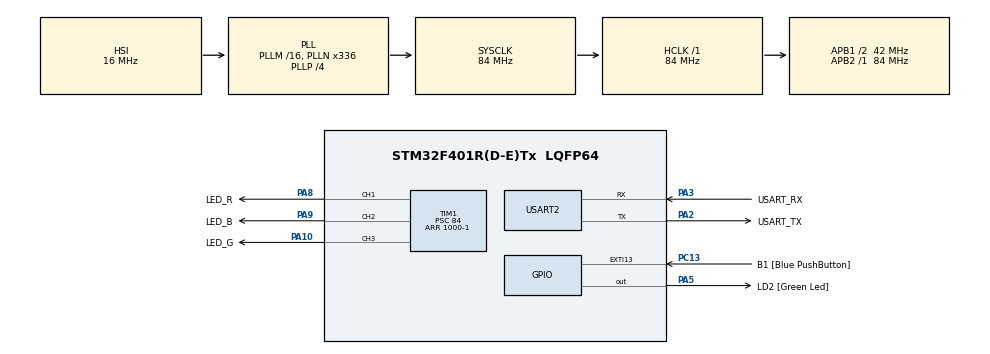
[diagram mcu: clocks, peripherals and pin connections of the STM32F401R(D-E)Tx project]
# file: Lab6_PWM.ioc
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Mcu.Family=STM32F4
Mcu.Name=STM32F401R(D-E)Tx
Mcu.Package=LQFP64
NVIC.PriorityGroup=NVIC_PRIORITYGROUP_0
NVIC.TIM1_UP_TIM10_IRQn=true\:0\:0\:false\:false\:true\:true\:true\:true
PA10.GPIO_Label=LED_G
PA10.Signal=S_TIM1_CH3
PA13.GPIO_Label=TMS
PA13.Mode=Serial_Wire
PA13.Signal=SYS_JTMS-SWDIO
PA14.GPIO_Label=TCK
PA14.Mode=Serial_Wire
PA14.Signal=SYS_JTCK-SWCLK
PA2.GPIO_Label=USART_TX
PA2.GPIO_Mode=GPIO_MODE_AF_PP
PA2.GPIO_PuPd=GPIO_NOPULL
PA2.GPIO_Speed=GPIO_SPEED_FREQ_LOW
PA2.Mode=Asynchronous
PA2.Signal=USART2_TX
PA3.GPIO_Label=USART_RX
PA3.GPIO_Mode=GPIO_MODE_AF_PP
PA3.GPIO_PuPd=GPIO_NOPULL
PA3.GPIO_Speed=GPIO_SPEED_FREQ_LOW
PA3.Mode=Asynchronous
PA3.Signal=USART2_RX
PA5.GPIO_Label=LD2 [Green Led]
PA5.GPIO_Mode=GPIO_MODE_OUTPUT_PP
PA5.GPIO_PuPd=GPIO_NOPULL
PA5.GPIO_Speed=GPIO_SPEED_FREQ_LOW
PA5.Signal=GPIO_Output
PA8.GPIO_Label=LED_R
PA8.Signal=S_TIM1_CH1
PA9.GPIO_Label=LED_B
PA9.Signal=S_TIM1_CH2
PB3.GPIO_Label=SWO
PB3.Signal=SYS_JTDO-SWO
PC13-ANTI_TAMP.GPIO_Label=B1 [Blue PushButton]
PC13-ANTI_TAMP.GPIO_ModeDefaultEXTI=GPIO_MODE_IT_FALLING
PC13-ANTI_TAMP.GPIO_PuPd=GPIO_NOPULL
PC13-ANTI_TAMP.Signal=GPXTI13
PC14-OSC32_IN.Mode=LSE-External-Oscillator
PC14-OSC32_IN.Signal=RCC_OSC32_IN
PC15-OSC32_OUT.Mode=LSE-External-Oscillator
PC15-OSC32_OUT.Signal=RCC_OSC32_OUT
PH0\ -\ OSC_IN.Mode=HSE-External-Clock-Source
PH0\ -\ OSC_IN.Signal=RCC_OSC_IN
PH1\ -\ OSC_OUT.Mode=HSE-External-Clock-Source
PH1\ -\ OSC_OUT.Signal=RCC_OSC_OUT
ProjectManager.HeapSize=0x200
ProjectManager.StackSize=0x400
ProjectManager.TargetToolchain=STM32CubeIDE
RCC.48MHZClocksFreq_Value=48000000
RCC.AHBFreq_Value=84000000
RCC.APB1CLKDivider=RCC_HCLK_DIV2
RCC.APB1Freq_Value=42000000
RCC.APB1TimFreq_Value=84000000
RCC.APB2Freq_Value=84000000
RCC.APB2TimFreq_Value=84000000
RCC.CortexFreq_Value=84000000
RCC.HCLKFreq_Value=84000000
RCC.HSE_VALUE=8000000
RCC.HSI_VALUE=16000000
RCC.PLLN=336
RCC.PLLP=RCC_PLLP_DIV4
RCC.PLLQ=7
RCC.SYSCLKFreq_VALUE=84000000
RCC.SYSCLKSource=RCC_SYSCLKSOURCE_PLLCLK
RCC.VCOOutputFreq_Value=336000000
SH.S_TIM1_CH1.0=TIM1_CH1,PWM Generation1 CH1
SH.S_TIM1_CH2.0=TIM1_CH2,PWM Generation2 CH2
SH.S_TIM1_CH3.0=TIM1_CH3,PWM Generation3 CH3
TIM1.Channel-PWM\ Generation1\ CH1=TIM_CHANNEL_1
TIM1.Channel-PWM\ Generation2\ CH2=TIM_CHANNEL_2
TIM1.Channel-PWM\ Generation3\ CH3=TIM_CHANNEL_3
TIM1.Period=1000-1
TIM1.Prescaler=84
USART2.VirtualMode=VM_ASYNC
VP_TIM1_VS_ClockSourceINT.Mode=Internal
board=NUCLEO-F401RE

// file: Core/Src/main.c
/* USER CODE BEGIN Header */
/**
 ******************************************************************************
 * @file           : main.c
 * @brief          : Main program body
 ******************************************************************************
 * @attention
 *
 * Copyright (c) 2024 STMicroelectronics.
 * All rights reserved.
 *
 * This software is licensed under terms that can be found in the LICENSE file
 * in the root directory of this software component.
 * If no LICENSE file comes with this software, it is provided AS-IS.
 *
 ******************************************************************************
 */
/* USER CODE END Header */
#include "main.h"
#include <math.h>

TIM_HandleTypeDef htim1;
UART_HandleTypeDef huart2;

/* USER CODE BEGIN PV */
int isr_count = 0;
uint32_t duty = 0;
float rf, gf, bf;
static float t = 0.0f;
const float offset = M_TWOPI / 3.0f;
const float half_arr = 499.5f; // Half of ARR value, assuming ARR = 999
const float freq = 0.5f; // Startfrekvens satt till 0,5 Hz
/* USER CODE END PV */

void SystemClock_Config(void);
static void MX_GPIO_Init(void);
static void MX_USART2_UART_Init(void);
static void MX_TIM1_Init(void);

/* USER CODE BEGIN 0 */
void HAL_TIM_PeriodElapsedCallback(TIM_HandleTypeDef *htim)
{
	if (htim->Instance == TIM1)
	{
		isr_count++;
		// Calculate intensity values for RGB colors
		rf = sinf((M_TWOPI * t * freq) + (0 * offset));
		gf = sinf((M_TWOPI * t * freq) + (1 * offset));
		bf = sinf((M_TWOPI * t * freq) + (2 * offset));
		rf = (rf + 1.0f) * half_arr;
		gf = (gf + 1.0f) * half_arr;
		bf = (bf + 1.0f) * half_arr;
		t += 0.001f; //(1 / f_TIM)
	}
}
/* USER CODE END 0 */

int main(void)
{

	/* MCU Configuration--------------------------------------------------------*/

	/* Reset of all peripherals, Initializes the Flash interface and the Systick. */
	HAL_Init();

	/* Configure the system clock */
	SystemClock_Config();

	/* Initialize all configured peripherals */
	MX_GPIO_Init();
	MX_USART2_UART_Init();
	MX_TIM1_Init();
	/* USER CODE BEGIN 2 */
	HAL_TIM_Base_Start_IT(&htim1);
	HAL_TIM_PWM_Start(&htim1, TIM_CHANNEL_1);
	HAL_TIM_PWM_Start(&htim1, TIM_CHANNEL_2);
	HAL_TIM_PWM_Start(&htim1, TIM_CHANNEL_3);
	/* USER CODE END 2 */

	/* Infinite loop */
	/* USER CODE BEGIN WHILE */

	while (1)
	{
		//duty = (isr_count / 32) % 1000;
		__HAL_TIM_SET_COMPARE(&htim1, TIM_CHANNEL_1, rf);
		__HAL_TIM_SET_COMPARE(&htim1, TIM_CHANNEL_2, bf);
		__HAL_TIM_SET_COMPARE(&htim1, TIM_CHANNEL_3, gf);

		/* USER CODE END WHILE */

	}
}

void SystemClock_Config(void)
{
	RCC_OscInitTypeDef RCC_OscInitStruct = {0};
	RCC_ClkInitTypeDef RCC_ClkInitStruct = {0};

	/** Configure the main internal regulator output voltage
	 */
	__HAL_RCC_PWR_CLK_ENABLE();
	__HAL_PWR_VOLTAGESCALING_CONFIG(PWR_REGULATOR_VOLTAGE_SCALE2);

	/** Initializes the RCC Oscillators according to the specified parameters
	 * in the RCC_OscInitTypeDef structure.
	 */
	RCC_OscInitStruct.OscillatorType = RCC_OSCILLATORTYPE_HSI;
	RCC_OscInitStruct.HSIState = RCC_HSI_ON;
	RCC_OscInitStruct.HSICalibrationValue = RCC_HSICALIBRATION_DEFAULT;
	RCC_OscInitStruct.PLL.PLLState = RCC_PLL_ON;
	RCC_OscInitStruct.PLL.PLLSource = RCC_PLLSOURCE_HSI;
	RCC_OscInitStruct.PLL.PLLM = 16;
	RCC_OscInitStruct.PLL.PLLN = 336;
	RCC_OscInitStruct.PLL.PLLP = RCC_PLLP_DIV4;
	RCC_OscInitStruct.PLL.PLLQ = 7;
	if (HAL_RCC_OscConfig(&RCC_OscInitStruct) != HAL_OK)
	{
		Error_Handler();
	}

	/** Initializes the CPU, AHB and APB buses clocks
	 */
	RCC_ClkInitStruct.ClockType = RCC_CLOCKTYPE_HCLK|RCC_CLOCKTYPE_SYSCLK
			|RCC_CLOCKTYPE_PCLK1|RCC_CLOCKTYPE_PCLK2;
	RCC_ClkInitStruct.SYSCLKSource = RCC_SYSCLKSOURCE_PLLCLK;
	RCC_ClkInitStruct.AHBCLKDivider = RCC_SYSCLK_DIV1;
	RCC_ClkInitStruct.APB1CLKDivider = RCC_HCLK_DIV2;
	RCC_ClkInitStruct.APB2CLKDivider = RCC_HCLK_DIV1;

	if (HAL_RCC_ClockConfig(&RCC_ClkInitStruct, FLASH_LATENCY_2) != HAL_OK)
	{
		Error_Handler();
	}
}

static void MX_TIM1_Init(void)
{

	TIM_ClockConfigTypeDef sClockSourceConfig = {0};
	TIM_MasterConfigTypeDef sMasterConfig = {0};
	TIM_OC_InitTypeDef sConfigOC = {0};
	TIM_BreakDeadTimeConfigTypeDef sBreakDeadTimeConfig = {0};

	htim1.Instance = TIM1;
	htim1.Init.Prescaler = 84;
	htim1.Init.CounterMode = TIM_COUNTERMODE_UP;
	htim1.Init.Period = 1000-1;
	htim1.Init.ClockDivision = TIM_CLOCKDIVISION_DIV1;
	htim1.Init.RepetitionCounter = 0;
	htim1.Init.AutoReloadPreload = TIM_AUTORELOAD_PRELOAD_DISABLE;
	if (HAL_TIM_Base_Init(&htim1) != HAL_OK)
	{
		Error_Handler();
	}
	sClockSourceConfig.ClockSource = TIM_CLOCKSOURCE_INTERNAL;
	if (HAL_TIM_ConfigClockSource(&htim1, &sClockSourceConfig) != HAL_OK)
	{
		Error_Handler();
	}
	if (HAL_TIM_PWM_Init(&htim1) != HAL_OK)
	{
		Error_Handler();
	}
	sMasterConfig.MasterOutputTrigger = TIM_TRGO_RESET;
	sMasterConfig.MasterSlaveMode = TIM_MASTERSLAVEMODE_DISABLE;
	if (HAL_TIMEx_MasterConfigSynchronization(&htim1, &sMasterConfig) != HAL_OK)
	{
		Error_Handler();
	}
	sConfigOC.OCMode = TIM_OCMODE_PWM1;
	sConfigOC.Pulse = 0;
	sConfigOC.OCPolarity = TIM_OCPOLARITY_HIGH;
	sConfigOC.OCNPolarity = TIM_OCNPOLARITY_HIGH;
	sConfigOC.OCFastMode = TIM_OCFAST_DISABLE;
	sConfigOC.OCIdleState = TIM_OCIDLESTATE_RESET;
	sConfigOC.OCNIdleState = TIM_OCNIDLESTATE_RESET;
	if (HAL_TIM_PWM_ConfigChannel(&htim1, &sConfigOC, TIM_CHANNEL_1) != HAL_OK)
	{
		Error_Handler();
	}
	if (HAL_TIM_PWM_ConfigChannel(&htim1, &sConfigOC, TIM_CHANNEL_2) != HAL_OK)
	{
		Error_Handler();
	}
	if (HAL_TIM_PWM_ConfigChannel(&htim1, &sConfigOC, TIM_CHANNEL_3) != HAL_OK)
	{
		Error_Handler();
	}
	sBreakDeadTimeConfig.OffStateRunMode = TIM_OSSR_DISABLE;
	sBreakDeadTimeConfig.OffStateIDLEMode = TIM_OSSI_DISABLE;
	sBreakDeadTimeConfig.LockLevel = TIM_LOCKLEVEL_OFF;
	sBreakDeadTimeConfig.DeadTime = 0;
	sBreakDeadTimeConfig.BreakState = TIM_BREAK_DISABLE;
	sBreakDeadTimeConfig.BreakPolarity = TIM_BREAKPOLARITY_HIGH;
	sBreakDeadTimeConfig.AutomaticOutput = TIM_AUTOMATICOUTPUT_DISABLE;
	if (HAL_TIMEx_ConfigBreakDeadTime(&htim1, &sBreakDeadTimeConfig) != HAL_OK)
	{
		Error_Handler();
	}
	HAL_TIM_MspPostInit(&htim1);

}

static void MX_USART2_UART_Init(void)
{

	huart2.Instance = USART2;
	huart2.Init.BaudRate = 115200;
	huart2.Init.WordLength = UART_WORDLENGTH_8B;
	huart2.Init.StopBits = UART_STOPBITS_1;
	huart2.Init.Parity = UART_PARITY_NONE;
	huart2.Init.Mode = UART_MODE_TX_RX;
	huart2.Init.HwFlowCtl = UART_HWCONTROL_NONE;
	huart2.Init.OverSampling = UART_OVERSAMPLING_16;
	if (HAL_UART_Init(&huart2) != HAL_OK)
	{
		Error_Handler();
	}

}

static void MX_GPIO_Init(void)
{
	GPIO_InitTypeDef GPIO_InitStruct = {0};

	/* GPIO Ports Clock Enable */
	__HAL_RCC_GPIOC_CLK_ENABLE();
	__HAL_RCC_GPIOH_CLK_ENABLE();
	__HAL_RCC_GPIOA_CLK_ENABLE();
	__HAL_RCC_GPIOB_CLK_ENABLE();

	/*Configure GPIO pin Output Level */
	HAL_GPIO_WritePin(LD2_GPIO_Port, LD2_Pin, GPIO_PIN_RESET);

	/*Configure GPIO pin : B1_Pin */
	GPIO_InitStruct.Pin = B1_Pin;
	GPIO_InitStruct.Mode = GPIO_MODE_IT_FALLING;
	GPIO_InitStruct.Pull = GPIO_NOPULL;
	HAL_GPIO_Init(B1_GPIO_Port, &GPIO_InitStruct);

	/*Configure GPIO pin : LD2_Pin */
	GPIO_InitStruct.Pin = LD2_Pin;
	GPIO_InitStruct.Mode = GPIO_MODE_OUTPUT_PP;
	GPIO_InitStruct.Pull = GPIO_NOPULL;
	GPIO_InitStruct.Speed = GPIO_SPEED_FREQ_LOW;
	HAL_GPIO_Init(LD2_GPIO_Port, &GPIO_InitStruct);

}

void Error_Handler(void)
{
	__disable_irq();
	while (1)
	{
	}
}
